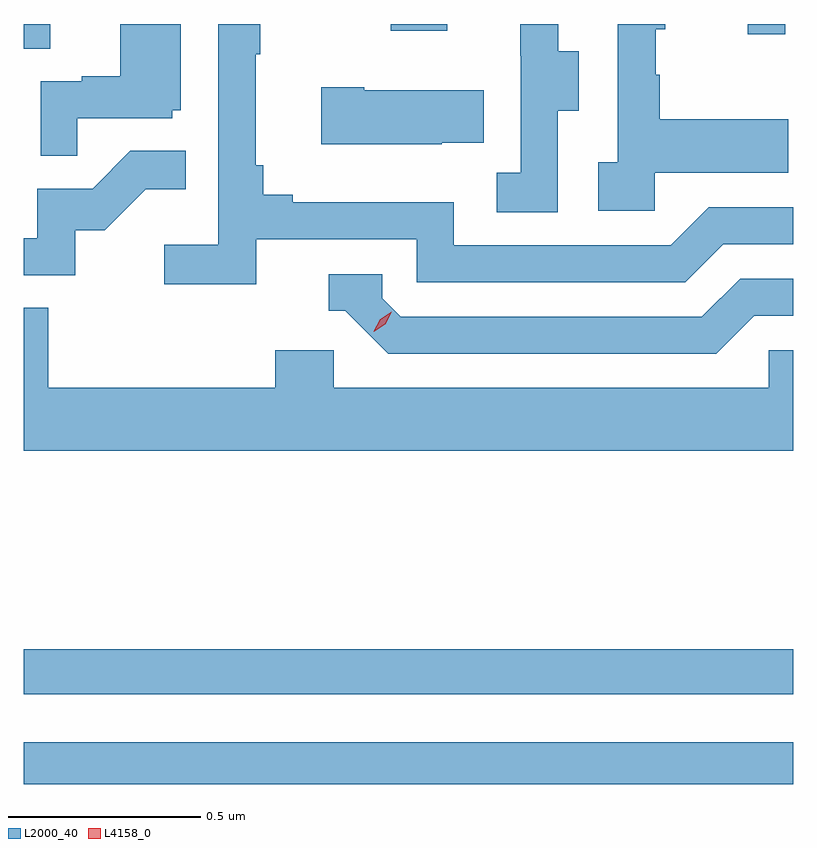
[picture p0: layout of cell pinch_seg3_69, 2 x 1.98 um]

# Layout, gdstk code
import gdstk
lib = gdstk.Library(unit=1e-6, precision=1e-09)
def R(c, l, rs):  # rectangles x0, y0, x1, y1
    for r in rs: c.add(gdstk.rectangle(r[:2], r[2:], *l))
def P(c, l, *ps):  # polygons
    for p in ps: c.add(gdstk.Polygon(p, *l))
L2000_40 = (2000, 40)
L4158_0 = (4158, 0)

pinch_seg3_69 = lib.new_cell('pinch_seg3_69')
R(pinch_seg3_69, L2000_40, [(1045.324,740.01,1047.324,740.118), (1045.324,740.244,1047.324,740.36), (1045.324,741.922,1045.393,741.986), (1047.206,741.96,1047.303,741.986), (1046.278,741.969,1046.425,741.986)])
P(pinch_seg3_69, L2000_40, [(1045.928,741.426),(1046.346,741.426),(1046.346,741.315),(1047.043,741.315),(1047.142,741.414),(1047.324,741.414),(1047.324,741.51),(1047.105,741.51),(1047.006,741.411),(1046.442,741.411),(1046.442,741.523),(1046.023,741.523),(1046.023,741.542),(1045.946,741.542),(1045.946,741.619),(1045.927,741.619),(1045.927,741.907),(1045.939,741.907),(1045.939,741.986),(1045.83,741.986),(1045.83,741.412),(1045.689,741.412),(1045.689,741.31),(1045.928,741.31)],
  [(1046.964,741.599),(1047.311,741.599),(1047.311,741.739),(1046.977,741.739),(1046.977,741.854),(1046.967,741.854),(1046.967,741.972),(1046.992,741.972),(1046.992,741.986),(1046.868,741.986),(1046.868,741.626),(1046.817,741.626),(1046.817,741.501),(1046.964,741.501)],
  [(1046.712,741.76),(1046.767,741.76),(1046.767,741.915),(1046.713,741.915),(1046.713,741.986),(1046.615,741.986),(1046.615,741.903),(1046.616,741.903),(1046.616,741.599),(1046.553,741.599),(1046.553,741.496),(1046.712,741.496)],
  [(1045.463,741.741),(1045.71,741.741),(1045.71,741.762),(1045.732,741.762),(1045.732,741.986),(1045.574,741.986),(1045.574,741.85),(1045.475,741.85),(1045.475,741.837),(1045.368,741.837),(1045.368,741.643),(1045.463,741.643)],
  [(1046.411,741.677),(1046.519,741.677),(1046.519,741.814),(1046.209,741.814),(1046.209,741.822),(1046.097,741.822),(1046.097,741.674),(1046.411,741.674)],
  [(1045.458,741.45),(1045.534,741.45),(1045.641,741.557),(1045.745,741.557),(1045.745,741.656),(1045.601,741.656),(1045.503,741.558),(1045.359,741.558),(1045.359,741.429),(1045.324,741.429),(1045.324,741.333),(1045.458,741.333)],
  [(1047.223,741.228),(1047.324,741.228),(1047.324,741.324),(1047.186,741.324),(1047.087,741.225),(1046.304,741.225),(1046.256,741.273),(1046.256,741.336),(1046.117,741.336),(1046.117,741.24),(1046.16,741.24),(1046.271,741.129),(1047.124,741.129)],
  [(1047.324,741.138),(1047.261,741.138),(1047.261,741.04),(1046.13,741.04),(1046.13,741.138),(1045.978,741.138),(1045.978,741.04),(1045.388,741.04),(1045.388,741.248),(1045.324,741.248),(1045.324,740.876),(1047.324,740.876)])
P(pinch_seg3_69, L4158_0, [(1046.233,741.186),(1046.233,741.187),(1046.25,741.219),(1046.281,741.238),(1046.281,741.238),(1046.281,741.238),(1046.264,741.205),(1046.233,741.186)])

lib.write_gds('pinch_seg3_69.gds')
